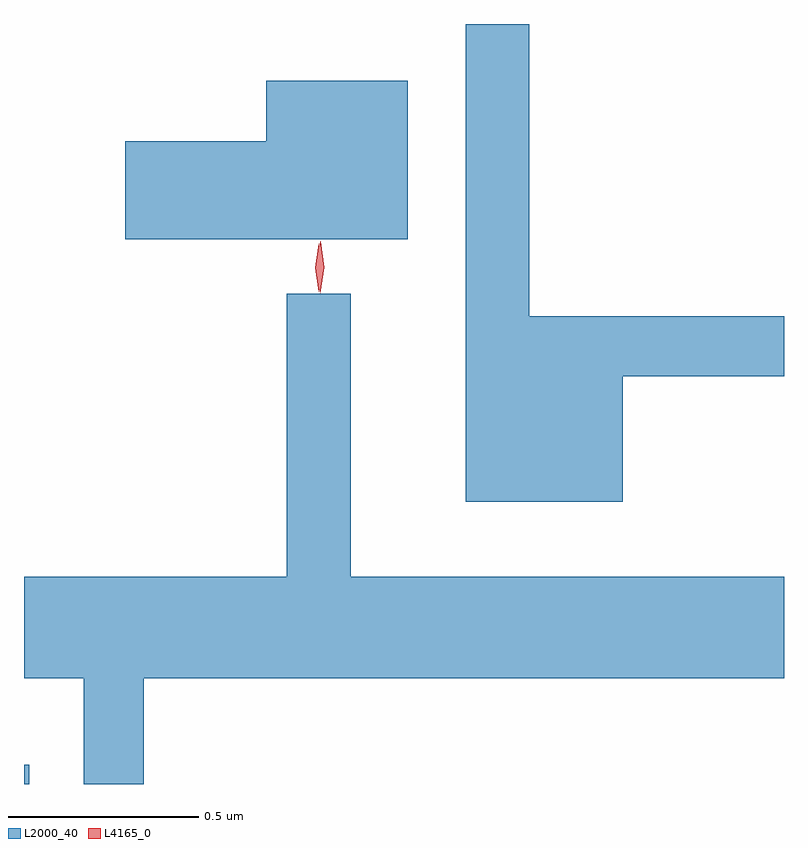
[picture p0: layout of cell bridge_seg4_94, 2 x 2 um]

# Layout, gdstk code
import gdstk
lib = gdstk.Library(unit=1e-6, precision=1e-09)
def R(c, l, rs):  # rectangles x0, y0, x1, y1
    for r in rs: c.add(gdstk.rectangle(r[:2], r[2:], *l))
def P(c, l, *ps):  # polygons
    for p in ps: c.add(gdstk.Polygon(p, *l))
L2000_40 = (2000, 40)
L4165_0 = (4165, 0)

bridge_seg4_94 = lib.new_cell('bridge_seg4_94')
R(bridge_seg4_94, L2000_40, [(1027.919,1341.078,1027.933,1341.129)])
P(bridge_seg4_94, L2000_40, [(1029.494,1342.151),(1029.919,1342.151),(1029.919,1342.309),(1029.249,1342.309),(1029.249,1343.078),(1029.081,1343.078),(1029.081,1341.821),(1029.494,1341.821)],
  [(1028.929,1342.929),(1028.556,1342.929),(1028.556,1342.769),(1028.186,1342.769),(1028.186,1342.511),(1028.929,1342.511)],
  [(1028.234,1341.356),(1029.919,1341.356),(1029.919,1341.624),(1028.779,1341.624),(1028.779,1342.368),(1028.611,1342.368),(1028.611,1341.624),(1027.919,1341.624),(1027.919,1341.356),(1028.076,1341.356),(1028.076,1341.078),(1028.234,1341.078)])
P(bridge_seg4_94, L4165_0, [(1028.698,1342.37),(1028.698,1342.37),(1028.689,1342.438),(1028.699,1342.505),(1028.7,1342.506),(1028.7,1342.505),(1028.709,1342.438),(1028.699,1342.37)],
  [(1028.694,1342.373),(1028.685,1342.436),(1028.694,1342.5),(1028.695,1342.5),(1028.695,1342.5),(1028.705,1342.436),(1028.695,1342.373),(1028.695,1342.373)])

lib.write_gds('bridge_seg4_94.gds')
